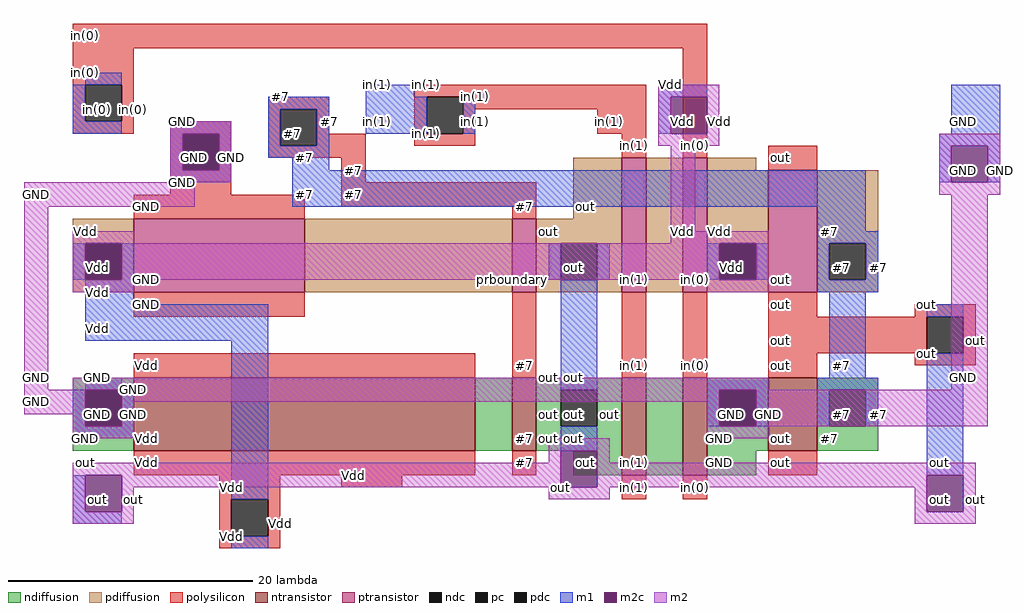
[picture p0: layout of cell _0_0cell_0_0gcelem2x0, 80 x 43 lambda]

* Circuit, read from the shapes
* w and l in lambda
.subckt _0_0cell_0_0gcelem2x0 in(1) out in(0)
M1 n1 Vdd GND VSUBS nfet w=6 l=28
M2 out #7 n1 VSUBS nfet w=6 l=2
M3 n2 in(1) out VSUBS nfet w=8 l=2
M4 GND in(0) n2 VSUBS nfet w=8 l=2
M5 #7 out GND VSUBS nfet w=6 l=4
M6 n3 GND Vdd NWELL pfet w=6 l=14
M7 out #7 n3 NWELL pfet w=6 l=2
M8 n4 in(1) out NWELL pfet w=11 l=2
M9 Vdd in(0) n4 NWELL pfet w=11 l=2
M10 #7 out Vdd NWELL pfet w=10 l=4
.ends

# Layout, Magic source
magic
tech sky130l
<< ndiffusion >>
rect 8 15 13 16
rect 8 12 9 15
rect 12 12 13 15
rect 8 10 13 12
rect 41 10 44 16
rect 46 15 53 16
rect 46 12 48 15
rect 51 12 53 15
rect 46 10 53 12
rect 49 8 53 10
rect 55 8 58 16
rect 60 15 65 16
rect 60 12 61 15
rect 64 12 65 15
rect 60 10 65 12
rect 69 15 74 16
rect 69 12 70 15
rect 73 12 74 15
rect 69 10 74 12
rect 60 8 64 10
<< ndc >>
rect 9 12 12 15
rect 48 12 51 15
rect 61 12 64 15
rect 70 12 73 15
<< ntransistor >>
rect 13 10 41 16
rect 44 10 46 16
rect 53 8 55 16
rect 58 8 60 16
rect 65 10 69 16
<< pdiffusion >>
rect 49 29 53 34
rect 8 27 13 29
rect 8 24 9 27
rect 12 24 13 27
rect 8 23 13 24
rect 27 23 44 29
rect 46 27 53 29
rect 46 24 48 27
rect 51 24 53 27
rect 46 23 53 24
rect 55 23 58 34
rect 60 33 64 34
rect 60 27 65 33
rect 60 24 61 27
rect 64 24 65 27
rect 60 23 65 24
rect 69 27 74 33
rect 69 24 70 27
rect 73 24 74 27
rect 69 23 74 24
<< pdc >>
rect 9 24 12 27
rect 48 24 51 27
rect 61 24 64 27
rect 70 24 73 27
<< ptransistor >>
rect 13 23 27 29
rect 44 23 46 29
rect 53 23 55 34
rect 58 23 60 34
rect 65 23 69 33
<< polysilicon >>
rect 8 43 60 45
rect 8 40 13 43
rect 8 37 9 40
rect 12 37 13 40
rect 36 39 55 40
rect 24 38 29 39
rect 8 36 13 37
rect 16 36 21 37
rect 16 33 17 36
rect 20 33 21 36
rect 24 35 25 38
rect 28 36 29 38
rect 36 36 37 39
rect 40 38 55 39
rect 40 36 41 38
rect 51 36 55 38
rect 28 35 32 36
rect 36 35 41 36
rect 24 34 32 35
rect 53 34 55 36
rect 58 34 60 43
rect 16 31 21 33
rect 30 32 32 34
rect 13 29 27 31
rect 30 30 46 32
rect 44 29 46 30
rect 65 33 69 35
rect 13 21 27 23
rect 13 16 41 18
rect 44 16 46 23
rect 53 16 55 23
rect 58 16 60 23
rect 65 21 69 23
rect 77 21 82 22
rect 65 18 78 21
rect 81 18 82 21
rect 65 16 69 18
rect 77 17 82 18
rect 13 8 41 10
rect 44 8 46 10
rect 65 8 69 10
rect 20 6 25 8
rect 30 7 35 8
rect 53 6 55 8
rect 58 6 60 8
rect 20 3 21 6
rect 24 3 25 6
rect 20 2 25 3
<< pc >>
rect 9 37 12 40
rect 17 33 20 36
rect 25 35 28 38
rect 37 36 40 39
rect 78 18 81 21
rect 21 3 24 6
<< m1 >>
rect 9 40 12 41
rect 8 37 9 40
rect 32 39 36 40
rect 56 39 60 40
rect 24 38 29 39
rect 8 36 12 37
rect 16 36 21 37
rect 16 33 17 36
rect 20 33 21 36
rect 24 35 25 38
rect 28 35 29 38
rect 32 36 37 39
rect 40 36 41 39
rect 56 36 57 39
rect 80 36 84 40
rect 24 34 29 35
rect 16 32 21 33
rect 26 33 29 34
rect 79 35 84 36
rect 26 30 73 33
rect 79 32 80 35
rect 83 32 84 35
rect 69 28 73 30
rect 69 27 74 28
rect 8 24 9 27
rect 12 24 13 27
rect 47 24 48 27
rect 51 24 52 27
rect 60 24 61 27
rect 64 24 65 27
rect 69 24 70 27
rect 73 24 74 27
rect 9 22 13 24
rect 9 19 24 22
rect 9 15 12 16
rect 8 12 9 15
rect 12 12 13 15
rect 8 11 13 12
rect 8 5 9 8
rect 8 4 12 5
rect 21 6 24 19
rect 48 15 51 24
rect 69 23 74 24
rect 70 16 73 23
rect 78 21 81 22
rect 60 15 65 16
rect 60 12 61 15
rect 64 12 65 15
rect 69 15 74 16
rect 69 12 70 15
rect 73 12 74 15
rect 48 10 51 12
rect 78 8 81 18
rect 21 2 24 3
<< m2c >>
rect 17 33 20 36
rect 57 36 60 39
rect 80 32 83 35
rect 9 24 12 27
rect 61 24 64 27
rect 9 12 12 15
rect 9 5 12 8
rect 61 12 64 15
rect 48 7 51 10
rect 78 5 81 8
<< m2 >>
rect 56 39 61 40
rect 16 36 21 37
rect 16 33 17 36
rect 20 33 21 36
rect 56 36 57 39
rect 60 36 61 39
rect 56 35 61 36
rect 79 35 84 36
rect 16 32 21 33
rect 4 30 18 32
rect 4 15 6 30
rect 57 28 59 35
rect 79 32 80 35
rect 83 32 84 35
rect 79 31 84 32
rect 8 27 13 28
rect 57 27 65 28
rect 8 24 9 27
rect 12 24 61 27
rect 64 24 65 27
rect 8 23 13 24
rect 60 23 65 24
rect 8 15 65 16
rect 80 15 83 31
rect 4 13 9 15
rect 8 12 9 13
rect 12 14 61 15
rect 12 12 13 14
rect 8 11 13 12
rect 60 12 61 14
rect 64 12 83 15
rect 60 11 65 12
rect 47 10 52 11
rect 47 9 48 10
rect 8 8 48 9
rect 8 5 9 8
rect 12 7 48 8
rect 51 9 52 10
rect 51 8 82 9
rect 51 7 78 8
rect 12 5 13 7
rect 47 6 52 7
rect 8 4 13 5
rect 77 5 78 7
rect 81 5 82 8
rect 77 4 82 5
<< labels >>
rlabel space 0 0 88 48 6 prboundary
rlabel polysilicon 78 22 78 22 3 out
rlabel polysilicon 78 18 78 18 3 out
rlabel polysilicon 82 19 82 19 3 out
rlabel polysilicon 59 35 59 35 3 in(0)
rlabel polysilicon 41 39 41 39 3 in(1)
rlabel polysilicon 66 9 66 9 3 out
rlabel ndiffusion 70 11 70 11 3 #7
rlabel polysilicon 66 17 66 17 3 out
rlabel polysilicon 66 19 66 19 3 out
rlabel polysilicon 66 22 66 22 3 out
rlabel polysilicon 54 35 54 35 3 in(1)
rlabel ntransistor 66 11 66 11 3 out
rlabel polysilicon 66 34 66 34 3 out
rlabel polysilicon 52 37 52 37 3 in(1)
rlabel polysilicon 37 36 37 36 3 in(1)
rlabel polysilicon 37 37 37 37 3 in(1)
rlabel ndiffusion 61 9 61 9 3 GND
rlabel ndiffusion 61 11 61 11 3 GND
rlabel polysilicon 59 17 59 17 3 in(0)
rlabel ptransistor 66 24 66 24 3 out
rlabel pdiffusion 50 30 50 30 3 out
rlabel ntransistor 59 9 59 9 3 in(0)
rlabel pdiffusion 61 28 61 28 3 Vdd
rlabel pdiffusion 61 34 61 34 3 Vdd
rlabel polysilicon 29 37 29 37 3 #7
rlabel polysilicon 54 17 54 17 3 in(1)
rlabel ptransistor 59 24 59 24 3 in(0)
rlabel polysilicon 45 30 45 30 3 #7
rlabel polysilicon 59 7 59 7 3 in(0)
rlabel ntransistor 54 9 54 9 3 in(1)
rlabel ndiffusion 52 13 52 13 3 out
rlabel polysilicon 37 40 37 40 3 in(1)
rlabel ndiffusion 50 9 50 9 3 out
rlabel ptransistor 54 24 54 24 3 in(1)
rlabel polysilicon 54 7 54 7 3 in(1)
rlabel polysilicon 25 4 25 4 3 Vdd
rlabel polysilicon 31 8 31 8 3 Vdd
rlabel ndiffusion 47 11 47 11 3 out
rlabel ndiffusion 47 13 47 13 3 out
rlabel ndiffusion 47 16 47 16 3 out
rlabel pdiffusion 47 24 47 24 3 out
rlabel pdiffusion 47 25 47 25 3 out
rlabel pdiffusion 47 28 47 28 3 out
rlabel polysilicon 31 31 31 31 3 #7
rlabel polysilicon 31 33 31 33 3 #7
rlabel polysilicon 45 9 45 9 3 #7
rlabel ntransistor 45 11 45 11 3 #7
rlabel polysilicon 45 17 45 17 3 #7
rlabel ptransistor 45 24 45 24 3 #7
rlabel polysilicon 21 3 21 3 3 Vdd
rlabel polysilicon 21 4 21 4 3 Vdd
rlabel polysilicon 21 7 21 7 3 Vdd
rlabel polysilicon 17 32 17 32 3 GND
rlabel polysilicon 13 38 13 38 3 in(0)
rlabel polysilicon 14 9 14 9 3 Vdd
rlabel ntransistor 14 11 14 11 3 Vdd
rlabel polysilicon 14 17 14 17 3 Vdd
rlabel polysilicon 14 22 14 22 3 GND
rlabel ptransistor 14 24 14 24 3 GND
rlabel polysilicon 14 30 14 30 3 GND
rlabel ndiffusion 9 11 9 11 3 GND
rlabel polysilicon 9 41 9 41 3 in(0)
rlabel polysilicon 9 44 9 44 3 in(0)
rlabel m1 74 13 74 13 3 #7
rlabel m1 81 37 81 37 3 GND
rlabel m1 74 25 74 25 3 #7
rlabel ndc 71 13 71 13 3 #7
rlabel pdc 71 25 71 25 3 #7
rlabel m1 41 37 41 37 3 in(1)
port 1 e
rlabel m1 70 13 70 13 3 #7
rlabel pc 79 19 79 19 3 out
port 2 e
rlabel m1 79 22 79 22 3 out
port 2 e
rlabel m1 70 25 70 25 3 #7
rlabel m1 70 28 70 28 3 #7
rlabel m1 70 29 70 29 3 #7
rlabel pc 38 37 38 37 3 in(1)
port 1 e
rlabel m1 71 17 71 17 3 #7
rlabel m1 33 37 33 37 3 in(1)
port 1 e
rlabel m1 70 16 70 16 3 #7
rlabel m1 70 24 70 24 3 #7
rlabel m1 27 34 27 34 3 #7
rlabel m1 29 36 29 36 3 #7
rlabel m1 61 16 61 16 3 GND
rlabel m1 61 25 61 25 3 Vdd
rlabel pc 26 36 26 36 3 #7
rlabel m1 25 35 25 35 3 #7
rlabel m1 25 36 25 36 3 #7
rlabel m1 33 40 33 40 3 in(1)
port 1 e
rlabel m1 52 25 52 25 3 out
port 2 e
rlabel m1 79 9 79 9 3 out
port 2 e
rlabel ndc 49 13 49 13 3 out
port 2 e
rlabel m1 49 16 49 16 3 out
port 2 e
rlabel pdc 49 25 49 25 3 out
port 2 e
rlabel m1 25 39 25 39 3 #7
rlabel m1 48 25 48 25 3 out
port 2 e
rlabel m1 49 11 49 11 3 out
port 2 e
rlabel m1 27 31 27 31 3 #7
rlabel m1 22 3 22 3 3 Vdd
rlabel pc 22 4 22 4 3 Vdd
rlabel m1 22 7 22 7 3 Vdd
rlabel m1 10 16 10 16 3 GND
rlabel m1 10 20 10 20 3 Vdd
rlabel m1 10 23 10 23 3 Vdd
rlabel pc 10 38 10 38 3 in(0)
port 3 e
rlabel m1 10 41 10 41 3 in(0)
port 3 e
rlabel m1 9 37 9 37 3 in(0)
port 3 e
rlabel m1 9 38 9 38 3 in(0)
port 3 e
rlabel m2 84 33 84 33 3 GND
rlabel m2c 81 33 81 33 3 GND
rlabel m2 65 13 65 13 3 GND
rlabel m2 80 32 80 32 3 GND
rlabel m2 80 33 80 33 3 GND
rlabel m2 82 6 82 6 3 out
port 2 e
rlabel m2c 62 13 62 13 3 GND
rlabel m2 61 24 61 24 3 Vdd
rlabel m2 80 36 80 36 3 GND
rlabel m2c 79 6 79 6 3 out
port 2 e
rlabel m2 61 12 61 12 3 GND
rlabel m2 61 13 61 13 3 GND
rlabel m2 58 28 58 28 3 Vdd
rlabel m2 58 29 58 29 3 Vdd
rlabel m2 78 5 78 5 3 out
port 2 e
rlabel m2 78 6 78 6 3 out
port 2 e
rlabel m2 57 36 57 36 3 Vdd
rlabel m2 61 37 61 37 3 Vdd
rlabel m2 65 25 65 25 3 Vdd
rlabel m2c 58 37 58 37 3 Vdd
rlabel m2 52 8 52 8 3 out
port 2 e
rlabel m2 52 9 52 9 3 out
port 2 e
rlabel m2 52 10 52 10 3 out
port 2 e
rlabel m2 48 10 48 10 3 out
port 2 e
rlabel m2 48 11 48 11 3 out
port 2 e
rlabel m2c 62 25 62 25 3 Vdd
rlabel m2 21 34 21 34 3 GND
rlabel m2 57 37 57 37 3 Vdd
rlabel m2 57 40 57 40 3 Vdd
rlabel m2 48 7 48 7 3 out
port 2 e
rlabel m2c 49 8 49 8 3 out
port 2 e
rlabel m2 81 16 81 16 3 GND
rlabel m2 13 25 13 25 3 Vdd
rlabel m2c 18 34 18 34 3 GND
rlabel m2 13 6 13 6 3 out
port 2 e
rlabel m2 13 8 13 8 3 out
port 2 e
rlabel m2 13 13 13 13 3 GND
rlabel m2 13 15 13 15 3 GND
rlabel m2c 10 25 10 25 3 Vdd
rlabel m2 17 33 17 33 3 GND
rlabel m2 17 34 17 34 3 GND
rlabel m2 17 37 17 37 3 GND
rlabel m2c 10 6 10 6 3 out
port 2 e
rlabel m2c 10 13 10 13 3 GND
rlabel m2 9 16 9 16 3 GND
rlabel m2 9 24 9 24 3 Vdd
rlabel m2 9 25 9 25 3 Vdd
rlabel m2 9 28 9 28 3 Vdd
rlabel m2 9 5 9 5 3 out
port 2 e
rlabel m2 9 6 9 6 3 out
port 2 e
rlabel m2 9 9 9 9 3 out
port 2 e
rlabel m2 9 12 9 12 3 GND
rlabel m2 9 13 9 13 3 GND
rlabel m2 5 14 5 14 3 GND
rlabel m2 5 16 5 16 3 GND
rlabel m2 5 31 5 31 3 GND
<< end >>
